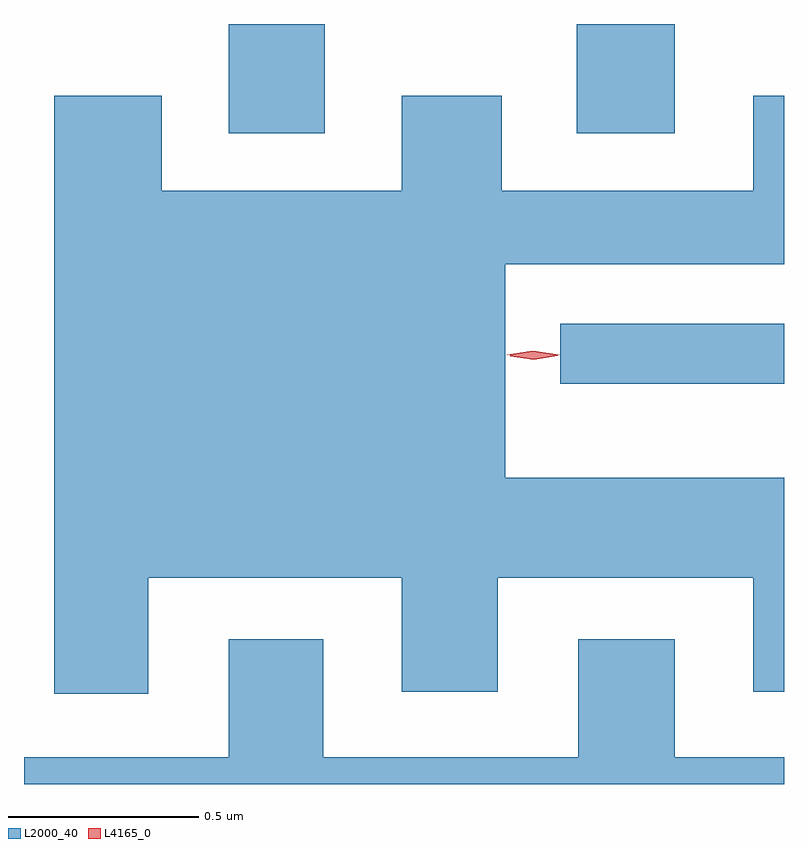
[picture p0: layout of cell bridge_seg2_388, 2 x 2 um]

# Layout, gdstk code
import gdstk
lib = gdstk.Library(unit=1e-6, precision=1e-09)
def R(c, l, rs):  # rectangles x0, y0, x1, y1
    for r in rs: c.add(gdstk.rectangle(r[:2], r[2:], *l))
def P(c, l, *ps):  # polygons
    for p in ps: c.add(gdstk.Polygon(p, *l))
L2000_40 = (2000, 40)
L4165_0 = (4165, 0)

bridge_seg2_388 = lib.new_cell('bridge_seg2_388')
R(bridge_seg2_388, L2000_40, [(602.803,1040.686,603.392,1040.844), (601.931,1041.346,602.184,1041.633), (602.846,1041.346,603.104,1041.633)])
P(bridge_seg2_388, L2000_40, [(601.719,1040.176),(602.386,1040.176),(602.386,1039.876),(602.639,1039.876),(602.639,1040.176),(603.311,1040.176),(603.311,1039.876),(603.392,1039.876),(603.392,1040.439),(602.659,1040.439),(602.659,1041.001),(603.392,1041.001),(603.392,1041.444),(603.311,1041.444),(603.311,1041.194),(602.649,1041.194),(602.649,1041.444),(602.386,1041.444),(602.386,1041.194),(601.754,1041.194),(601.754,1041.444),(601.471,1041.444),(601.471,1039.871),(601.719,1039.871)],
  [(603.392,1039.704),(603.104,1039.704),(603.104,1040.014),(602.851,1040.014),(602.851,1039.704),(602.179,1039.704),(602.179,1040.014),(601.931,1040.014),(601.931,1039.704),(601.392,1039.704),(601.392,1039.633),(603.392,1039.633)])
P(bridge_seg2_388, L4165_0, [(602.731,1040.753),(602.663,1040.762),(602.662,1040.763),(602.663,1040.763),(602.731,1040.773),(602.8,1040.763),(602.8,1040.763),(602.8,1040.762)],
  [(602.734,1040.75),(602.672,1040.759),(602.672,1040.76),(602.672,1040.76),(602.734,1040.77),(602.796,1040.761),(602.797,1040.76),(602.796,1040.76)])

lib.write_gds('bridge_seg2_388.gds')
